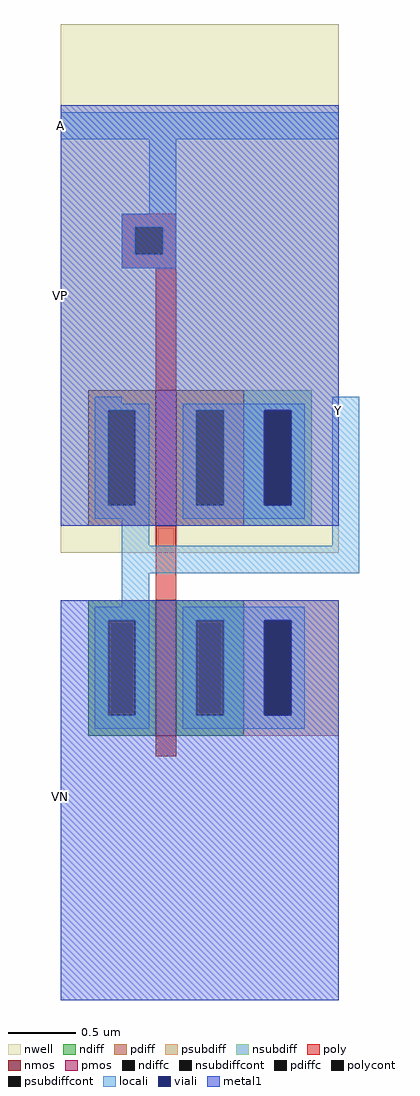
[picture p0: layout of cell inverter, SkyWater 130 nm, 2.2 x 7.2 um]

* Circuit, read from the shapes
.subckt inverter A Y VP VN
XM1 VN A Y VN sky130_fd_pr__nfet_01v8 w=1 l=0.15
XM2 VP A Y VP sky130_fd_pr__pfet_01v8 w=1 l=0.15
.ends

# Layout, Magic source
magic
tech sky130A
<< nwell >>
rect -120 130 85 520
<< nmos >>
rect -50 -5 -35 95
<< pmos >>
rect -50 150 -35 250
<< ndiff >>
rect -100 80 -50 95
rect -100 10 -85 80
rect -65 10 -50 80
rect -100 -5 -50 10
rect -35 80 15 95
rect -35 10 -20 80
rect 0 10 15 80
rect -35 -5 15 10
<< pdiff >>
rect -100 235 -50 250
rect -100 165 -85 235
rect -65 165 -50 235
rect -100 150 -50 165
rect -35 235 15 250
rect -35 165 -20 235
rect 0 165 15 235
rect -35 150 15 165
<< ndiffc >>
rect -85 10 -65 80
rect -20 10 0 80
<< pdiffc >>
rect -85 165 -65 235
rect -20 165 0 235
<< psubdiff >>
rect 15 80 85 95
rect 15 10 30 80
rect 50 10 85 80
rect 15 -5 85 10
<< nsubdiff >>
rect 15 235 65 250
rect 15 165 30 235
rect 50 165 65 235
rect 15 150 65 165
<< psubdiffcont >>
rect 30 10 50 80
<< nsubdiffcont >>
rect 30 165 50 235
<< poly >>
rect -75 370 -35 380
rect -75 350 -65 370
rect -45 350 -35 370
rect -75 340 -35 350
rect -50 250 -35 340
rect -50 95 -35 150
rect -50 -20 -35 -5
<< polycont >>
rect -65 350 -45 370
<< locali >>
rect -120 435 85 455
rect -55 380 -35 435
rect -75 370 -35 380
rect -75 350 -65 370
rect -45 350 -35 370
rect -75 340 -35 350
rect -95 240 -75 245
rect -95 235 -55 240
rect -95 165 -85 235
rect -65 165 -55 235
rect -95 155 -55 165
rect -30 235 60 240
rect -30 165 -20 235
rect 0 165 30 235
rect 50 165 60 235
rect -30 155 60 165
rect -75 135 -55 155
rect 80 135 100 245
rect -75 115 100 135
rect -75 90 -55 115
rect -95 80 -55 90
rect -95 10 -85 80
rect -65 10 -55 80
rect -95 0 -55 10
rect -30 80 60 90
rect -30 10 -20 80
rect 0 10 30 80
rect 50 10 60 80
rect -30 0 60 10
<< viali >>
rect 30 165 50 235
rect 30 10 50 80
<< metal1 >>
rect -120 235 85 460
rect -120 165 30 235
rect 50 165 85 235
rect -120 150 85 165
rect -120 80 85 95
rect -120 10 30 80
rect 50 10 85 80
rect -120 -200 85 10
<< labels >>
rlabel locali -120 445 -120 445 7 A
port 0 w
rlabel locali 85 235 85 235 3 Y
port 1 e
rlabel metal1 -120 320 -120 320 7 VP
port 2 w
rlabel metal1 -120 -50 -120 -50 7 VN
port 3 w
<< end >>
